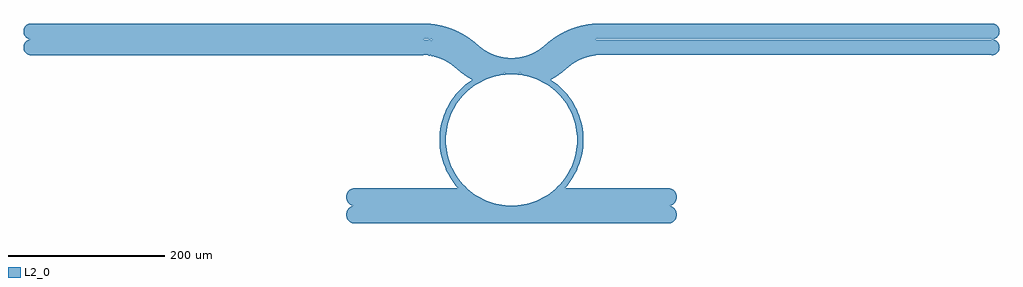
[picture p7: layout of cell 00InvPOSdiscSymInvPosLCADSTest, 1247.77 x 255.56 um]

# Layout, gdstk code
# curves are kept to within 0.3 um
import gdstk
lib = gdstk.Library(unit=1e-6, precision=1e-09)
def P(c, l, *ps):  # polygons
    for p in ps: c.add(gdstk.Polygon(p, *l))
L2_0 = (2, 0)

c_00invposdiscsyminvposlca = lib.new_cell('00InvPOSdiscSymInvPosLCADSTest')
P(c_00invposdiscsyminvposlca, L2_0, [(-100,93.25),(-104.36,94.13),(-107.92,96.53),(-110.32,100.09),(-111.199,104.305),(-110.423,108.557),(-108.107,112.177),(-104.609,114.661),(-100.433,115.642),(300.289,115.646),(304.36,114.77),(307.92,112.37),(310.266,108.935),(311.192,104.883),(310.473,100.471),(308.199,96.82),(304.609,94.239),(300.433,93.258)],
  [(300,115.75),(-100,115.75),(-103.199,116.213),(-106.037,117.514),(-108.556,119.723),(-110.32,122.59),(-111.156,125.946),(-110.944,129.344),(-109.716,132.525),(-107.63,135.149),(-104.856,137.046),(-101.706,138.021),(31.896,138.15),(26.105,145.196),(21.089,152.703),(15.003,164.793),(11.961,173.294),(9.768,182.052),(8.443,190.982),(8,200),(8.996,213.499),(11.961,226.706),(15.003,235.207),(18.863,243.368),(23.505,251.112),(28.883,258.364),(34.946,265.054),(41.636,271.117),(49.767,277.052),(38.325,284.317),(25.746,294.714),(19.65,298.951),(11.41,303.213),(2.282,306.337),(-5.736,307.887),(-13.513,308.405),(-513.885,308.406),(-513.885,328.406),(-8.044,328.203),(0.176,327.224),(8.259,325.442),(16.129,322.875),(23.709,319.548),(35.368,312.498),(47.392,302.546),(53.741,297.967),(60.92,293.767),(68.023,290.476),(75.399,287.856),(83.466,285.831),(91.693,284.609),(100,284.2),(108.307,284.609),(116.534,285.831),(124.601,287.856),(131.977,290.476),(139.08,293.767),(146.259,297.967),(152.608,302.546),(164.632,312.498),(176.291,319.548),(183.871,322.875),(191.741,325.442),(199.824,327.224),(208.044,328.203),(713.885,328.406),(713.885,308.406),(213.513,308.405),(205.736,307.887),(198.438,306.52),(189.275,303.502),(180.35,298.951),(174.254,294.714),(161.675,284.317),(150.233,277.052),(158.364,271.117),(168.168,261.783),(173.895,254.804),(181.137,243.368),(184.997,235.207),(189.243,222.354),(191.557,209.018),(192,200),(184,200),(183.091,212.325),(181.483,220.41),(179.09,228.299),(174.081,239.597),(167.469,250.039),(162.24,256.411),(153.289,264.933),(146.668,269.843),(139.597,274.081),(128.299,279.09),(120.41,281.483),(108.233,283.596),(100,284),(91.767,283.596),(79.59,281.483),(71.701,279.09),(60.403,274.081),(53.332,269.843),(43.589,262.24),(35.067,253.289),(27.951,243.185),(24.065,235.915),(19.617,224.384),(17.614,216.388),(16.101,204.122),(16.404,191.767),(17.614,183.612),(20.91,171.701),(24.065,164.085),(30.157,153.332),(37.76,143.589),(46.711,135.067),(53.332,130.157),(64.085,124.065),(71.701,120.91),(83.612,117.614),(95.878,116.101),(108.233,116.404),(120.41,118.517),(128.299,120.91),(139.597,125.919),(146.668,130.157),(153.289,135.067),(162.24,143.589),(167.469,149.961),(174.081,160.403),(179.09,171.701),(181.483,179.59),(183.091,187.675),(184,200),(192,200),(191.557,190.982),(190.232,182.052),(188.039,173.294),(184.997,164.793),(181.137,156.632),(176.495,148.888),(168.104,138.15),(301.844,137.999),(305.808,136.529),(308.894,133.758),(310.737,130.149),(311.156,125.946),(310.036,121.972),(307.531,118.66),(303.979,116.477)],
  [(100,284.6),(91.732,285.007),(83.544,286.224),(75.516,288.239),(67.723,291.032),(60.673,294.348),(53.553,298.57),(47.641,302.86),(35.602,312.823),(24.761,319.463),(17.639,322.713),(10.247,325.291),(2.649,327.174),(-5.091,328.348),(-13.885,328.806),(-513.885,328.806),(-513.885,348.806),(-6.629,348.554),(1.79,347.625),(10.106,346.018),(18.264,343.743),(25.652,341.046),(34.97,336.696),(43.31,331.784),(50.685,326.497),(62.446,316.729),(71.669,311.189),(78.509,308.304),(85.637,306.227),(92.957,304.987),(100,304.6),(107.043,304.987),(114.363,306.227),(121.491,308.304),(128.331,311.189),(137.554,316.729),(149.315,326.497),(156.69,331.784),(165.03,336.696),(174.348,341.046),(181.736,343.743),(189.894,346.018),(198.21,347.625),(206.629,348.554),(713.885,348.806),(713.885,328.806),(213.885,328.806),(205.091,328.348),(197.351,327.174),(189.753,325.291),(182.361,322.713),(175.239,319.463),(164.398,312.823),(152.359,302.86),(146.447,298.57),(139.327,294.348),(132.277,291.032),(124.484,288.239),(116.456,286.224),(108.268,285.007)],
  [(-513.885,308.406),(-517.777,309.192),(-520.956,311.335),(-523.099,314.513),(-523.885,318.406),(-523.099,322.298),(-520.956,325.477),(-517.777,327.62),(-513.885,328.406)],
  [(713.885,308.406),(713.885,328.406),(717.777,327.62),(720.956,325.477),(723.099,322.298),(723.885,318.406),(723.099,314.513),(720.956,311.335),(717.777,309.192)],
  [(-513.885,328.806),(-517.777,329.592),(-520.956,331.735),(-523.099,334.913),(-523.885,338.806),(-523.099,342.698),(-520.956,345.877),(-517.777,348.02),(-513.885,348.806)],
  [(713.885,328.806),(713.885,348.806),(717.777,348.02),(720.956,345.877),(723.099,342.698),(723.885,338.806),(723.099,334.913),(720.956,331.735),(717.777,329.592)])

lib.write_gds('00InvPOSdiscSymInvPosLCADSTest.gds')
